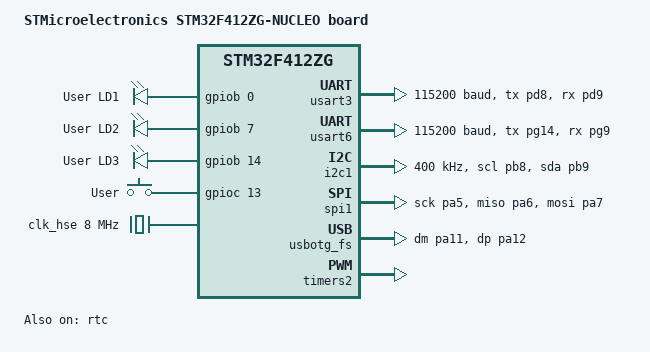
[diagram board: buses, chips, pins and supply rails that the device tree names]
/*
 * Copyright (c) 2017 Florian Vaussard, HEIG-VD
 *
 * SPDX-License-Identifier: Apache-2.0
 */

/dts-v1/;
#include <st/f4/stm32f412Xg.dtsi>
#include <st/f4/stm32f412z(e-g)tx-pinctrl.dtsi>
#include "arduino_r3_connector.dtsi"

/ {
	model = "STMicroelectronics STM32F412ZG-NUCLEO board";
	compatible = "st,stm32f412zg-nucleo";

	chosen {
		zephyr,console = &usart3;
		zephyr,shell-uart = &usart3;
		zephyr,sram = &sram0;
		zephyr,flash = &flash0;
	};

	leds {
		compatible = "gpio-leds";
		green_led_1: led_1 {
			gpios = <&gpiob 0 GPIO_ACTIVE_HIGH>;
			label = "User LD1";
		};
		blue_led_1: led_2 {
			gpios = <&gpiob 7 GPIO_ACTIVE_HIGH>;
			label = "User LD2";
		};
		red_led_1: led_3 {
			gpios = <&gpiob 14 GPIO_ACTIVE_HIGH>;
			label = "User LD3";
		};
	};

	gpio_keys {
		compatible = "gpio-keys";
		user_button: button {
			label = "User";
			gpios = <&gpioc 13 GPIO_ACTIVE_HIGH>;
		};
	};

	aliases {
		led0 = &green_led_1;
		led1 = &blue_led_1;
		led2 = &red_led_1;
		sw0 = &user_button;
	};
};

&clk_hse {
	hse-bypass;
	clock-frequency = <DT_FREQ_M(8)>; /* STLink 8MHz clock */
	status = "okay";
};

&pll {
	div-m = <8>;
	mul-n = <384>;
	div-p = <4>;
	div-q = <8>;
	clocks = <&clk_hse>;
	status = "okay";
};

&rcc {
	clocks = <&pll>;
	clock-frequency = <DT_FREQ_M(96)>;
	ahb-prescaler = <1>;
	apb1-prescaler = <2>;
	apb2-prescaler = <1>;
};

&usart3 {
	pinctrl-0 = <&usart3_tx_pd8 &usart3_rx_pd9>;
	pinctrl-names = "default";
	current-speed = <115200>;
	status = "okay";
};

&usart6 {
	pinctrl-0 = <&usart6_tx_pg14 &usart6_rx_pg9>;
	pinctrl-names = "default";
	current-speed = <115200>;
	status = "okay";
};

&i2c1 {
	pinctrl-0 = <&i2c1_scl_pb8 &i2c1_sda_pb9>;
	pinctrl-names = "default";
	status = "okay";
	clock-frequency = <I2C_BITRATE_FAST>;
};

&spi1 {
	pinctrl-0 = <&spi1_sck_pa5 &spi1_miso_pa6 &spi1_mosi_pa7>;
	pinctrl-names = "default";
	cs-gpios = <&gpiod 14 (GPIO_ACTIVE_LOW | GPIO_PULL_UP)>;
	status = "okay";
};

zephyr_udc0: &usbotg_fs {
	pinctrl-0 = <&usb_otg_fs_dm_pa11 &usb_otg_fs_dp_pa12>;
	pinctrl-names = "default";
	status = "okay";
};

&timers2 {
	status = "okay";

	pwm2: pwm {
		status = "okay";
		pinctrl-0 = <&tim2_ch1_pa0>;
		pinctrl-names = "default";
	};
};

&rtc {
	status = "okay";
};
